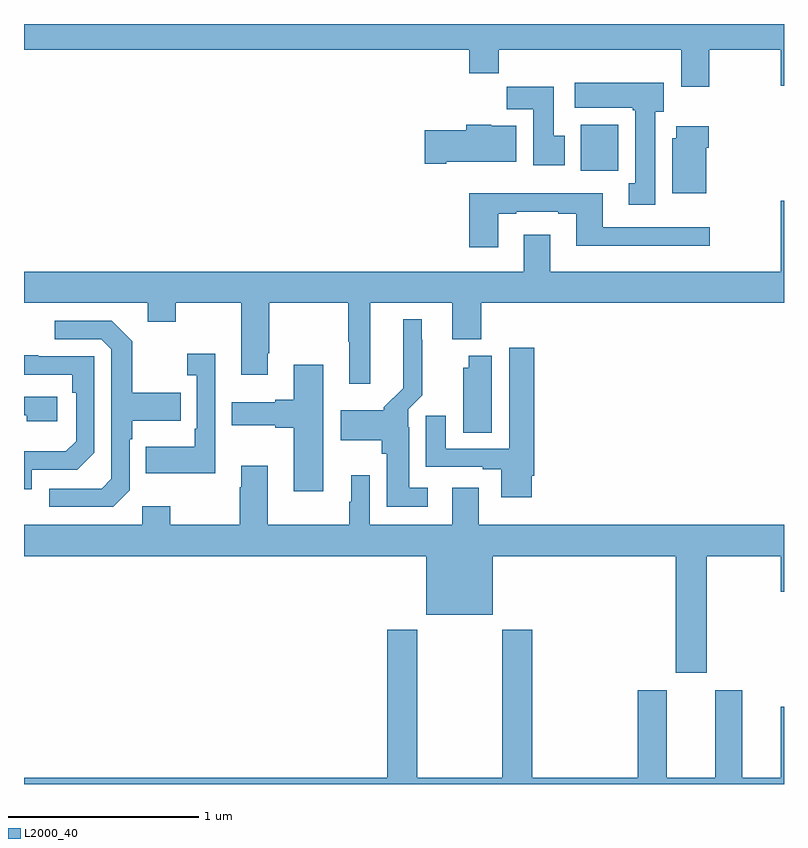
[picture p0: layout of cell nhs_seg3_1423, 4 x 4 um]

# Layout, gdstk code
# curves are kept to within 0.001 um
import gdstk
lib = gdstk.Library(unit=1e-6, precision=1e-09)
def R(c, l, rs):  # rectangles x0, y0, x1, y1
    for r in rs: c.add(gdstk.rectangle(r[:2], r[2:], *l))
def P(c, l, *ps):  # polygons
    for p in ps: c.add(gdstk.Polygon(p, *l))
L2000_40 = (2000, 40)

nhs_seg3_1423 = lib.new_cell('nhs_seg3_1423')
R(nhs_seg3_1423, L2000_40, [(187.931,685.628,188.128,685.87)])
P(nhs_seg3_1423, L2000_40, [(185,686.264),(187.343,686.264),(187.343,686.14),(187.499,686.14),(187.499,686.264),(188.459,686.264),(188.459,686.07),(188.607,686.07),(188.607,686.264),(188.984,686.264),(188.984,686.076),(189,686.076),(189,686.4),(185,686.4)],
  [(188.323,685.938),(188.368,685.938),(188.368,686.092),(187.899,686.092),(187.899,685.958),(188.203,685.958),(188.203,685.945),(188.216,685.945),(188.216,685.562),(188.183,685.562),(188.183,685.449),(188.323,685.449)],
  [(187.846,685.812),(187.789,685.812),(187.789,686.071),(187.54,686.071),(187.54,685.952),(187.679,685.952),(187.679,685.656),(187.846,685.656)],
  [(187.222,685.676),(187.591,685.676),(187.591,685.864),(187.458,685.864),(187.458,685.87),(187.328,685.87),(187.328,685.842),(187.11,685.842),(187.11,685.664),(187.222,685.664)],
  [(188.59,685.748),(188.603,685.748),(188.603,685.861),(188.432,685.861),(188.432,685.8),(188.411,685.8),(188.411,685.508),(188.59,685.508)],
  [(187.495,685.401),(187.591,685.401),(187.591,685.413),(187.811,685.413),(187.811,685.401),(187.907,685.401),(187.907,685.232),(188.608,685.232),(188.608,685.329),(188.047,685.329),(188.047,685.51),(187.343,685.51),(187.343,685.224),(187.495,685.224)],
  [(186.823,684.932),(187.253,684.932),(187.253,684.74),(187.406,684.74),(187.406,684.932),(189,684.932),(189,685.471),(188.984,685.471),(188.984,685.096),(187.771,685.096),(187.771,685.291),(187.631,685.291),(187.631,685.096),(185,685.096),(185,684.932),(185.651,684.932),(185.651,684.833),(185.799,684.833),(185.799,684.932),(186.143,684.932),(186.143,684.555),(186.283,684.555),(186.283,684.667),(186.291,684.667),(186.291,684.932),(186.706,684.932),(186.706,684.728),(186.713,684.728),(186.713,684.507),(186.823,684.507)],
  [(187.126,683.959),(187.027,683.959),(187.027,684.278),(187.023,684.278),(187.023,684.372),(187.097,684.446),(187.097,684.737),(187.093,684.737),(187.093,684.847),(186.995,684.847),(186.996,684.484),(186.894,684.382),(186.894,684.367),(186.666,684.367),(186.666,684.209),(186.883,684.209),(186.883,684.138),(186.908,684.138),(186.908,683.858),(187.126,683.858)],
  [(185.556,683.946),(185.556,684.215),(185.569,684.215),(185.569,684.311),(185.825,684.311),(185.825,684.459),(185.569,684.459),(185.569,684.731),(185.463,684.837),(185.163,684.837),(185.163,684.741),(185.406,684.741),(185.46,684.687),(185.46,684.006),(185.409,683.955),(185.133,683.955),(185.133,683.859),(185.469,683.859)],
  [(187.672,684.022),(187.685,684.022),(187.685,684.697),(187.553,684.697),(187.553,684.165),(187.219,684.165),(187.219,684.337),(187.115,684.337),(187.115,684.069),(187.415,684.069),(187.415,684.057),(187.511,684.057),(187.511,683.91),(187.672,683.91)],
  [(186.006,684.664),(185.859,684.664),(185.859,684.551),(185.91,684.551),(185.91,684.271),(185.898,684.271),(185.898,684.175),(185.641,684.175),(185.641,684.035),(186.006,684.035)],
  [(185.04,684.054),(185.28,684.054),(185.37,684.144),(185.37,684.651),(185.075,684.651),(185.075,684.656),(185,684.656),(185,684.555),(185.254,684.555),(185.254,684.458),(185.274,684.458),(185.274,684.204),(185.221,684.151),(185,684.151),(185,683.952),(185.04,683.952)],
  [(187.462,684.655),(187.34,684.655),(187.34,684.591),(187.313,684.591),(187.313,684.25),(187.462,684.25)],
  [(186.574,684.607),(186.419,684.607),(186.419,684.422),(186.323,684.422),(186.323,684.409),(186.093,684.409),(186.093,684.287),(186.323,684.287),(186.323,684.275),(186.419,684.275),(186.419,683.94),(186.574,683.94)],
  [(185.176,684.438),(185,684.438),(185,684.342),(185.015,684.342),(185.015,684.308),(185.176,684.308)],
  [(188.593,683.6),(188.984,683.6),(188.984,683.412),(189,683.412),(189,683.764),(187.393,683.764),(187.393,683.959),(187.253,683.959),(187.253,683.764),(186.819,683.764),(186.819,684.025),(186.722,684.025),(186.722,683.886),(186.711,683.886),(186.711,683.764),(186.283,683.764),(186.283,684.076),(186.143,684.076),(186.143,683.963),(186.136,683.963),(186.136,683.764),(185.769,683.764),(185.769,683.863),(185.622,683.863),(185.622,683.764),(185,683.764),(185,683.6),(187.118,683.6),(187.118,683.291),(187.468,683.291),(187.468,683.6),(188.429,683.6),(188.429,682.986),(188.593,682.986)],
  [(185,682.4),(189,682.4),(189,682.807),(188.984,682.807),(188.984,682.432),(188.779,682.432),(188.779,682.894),(188.639,682.894),(188.639,682.432),(188.383,682.432),(188.383,682.894),(188.231,682.894),(188.231,682.432),(187.676,682.432),(187.676,683.212),(187.516,683.212),(187.516,682.432),(187.071,682.432),(187.071,683.212),(186.911,683.212),(186.911,682.432),(185,682.432)])

lib.write_gds('nhs_seg3_1423.gds')
